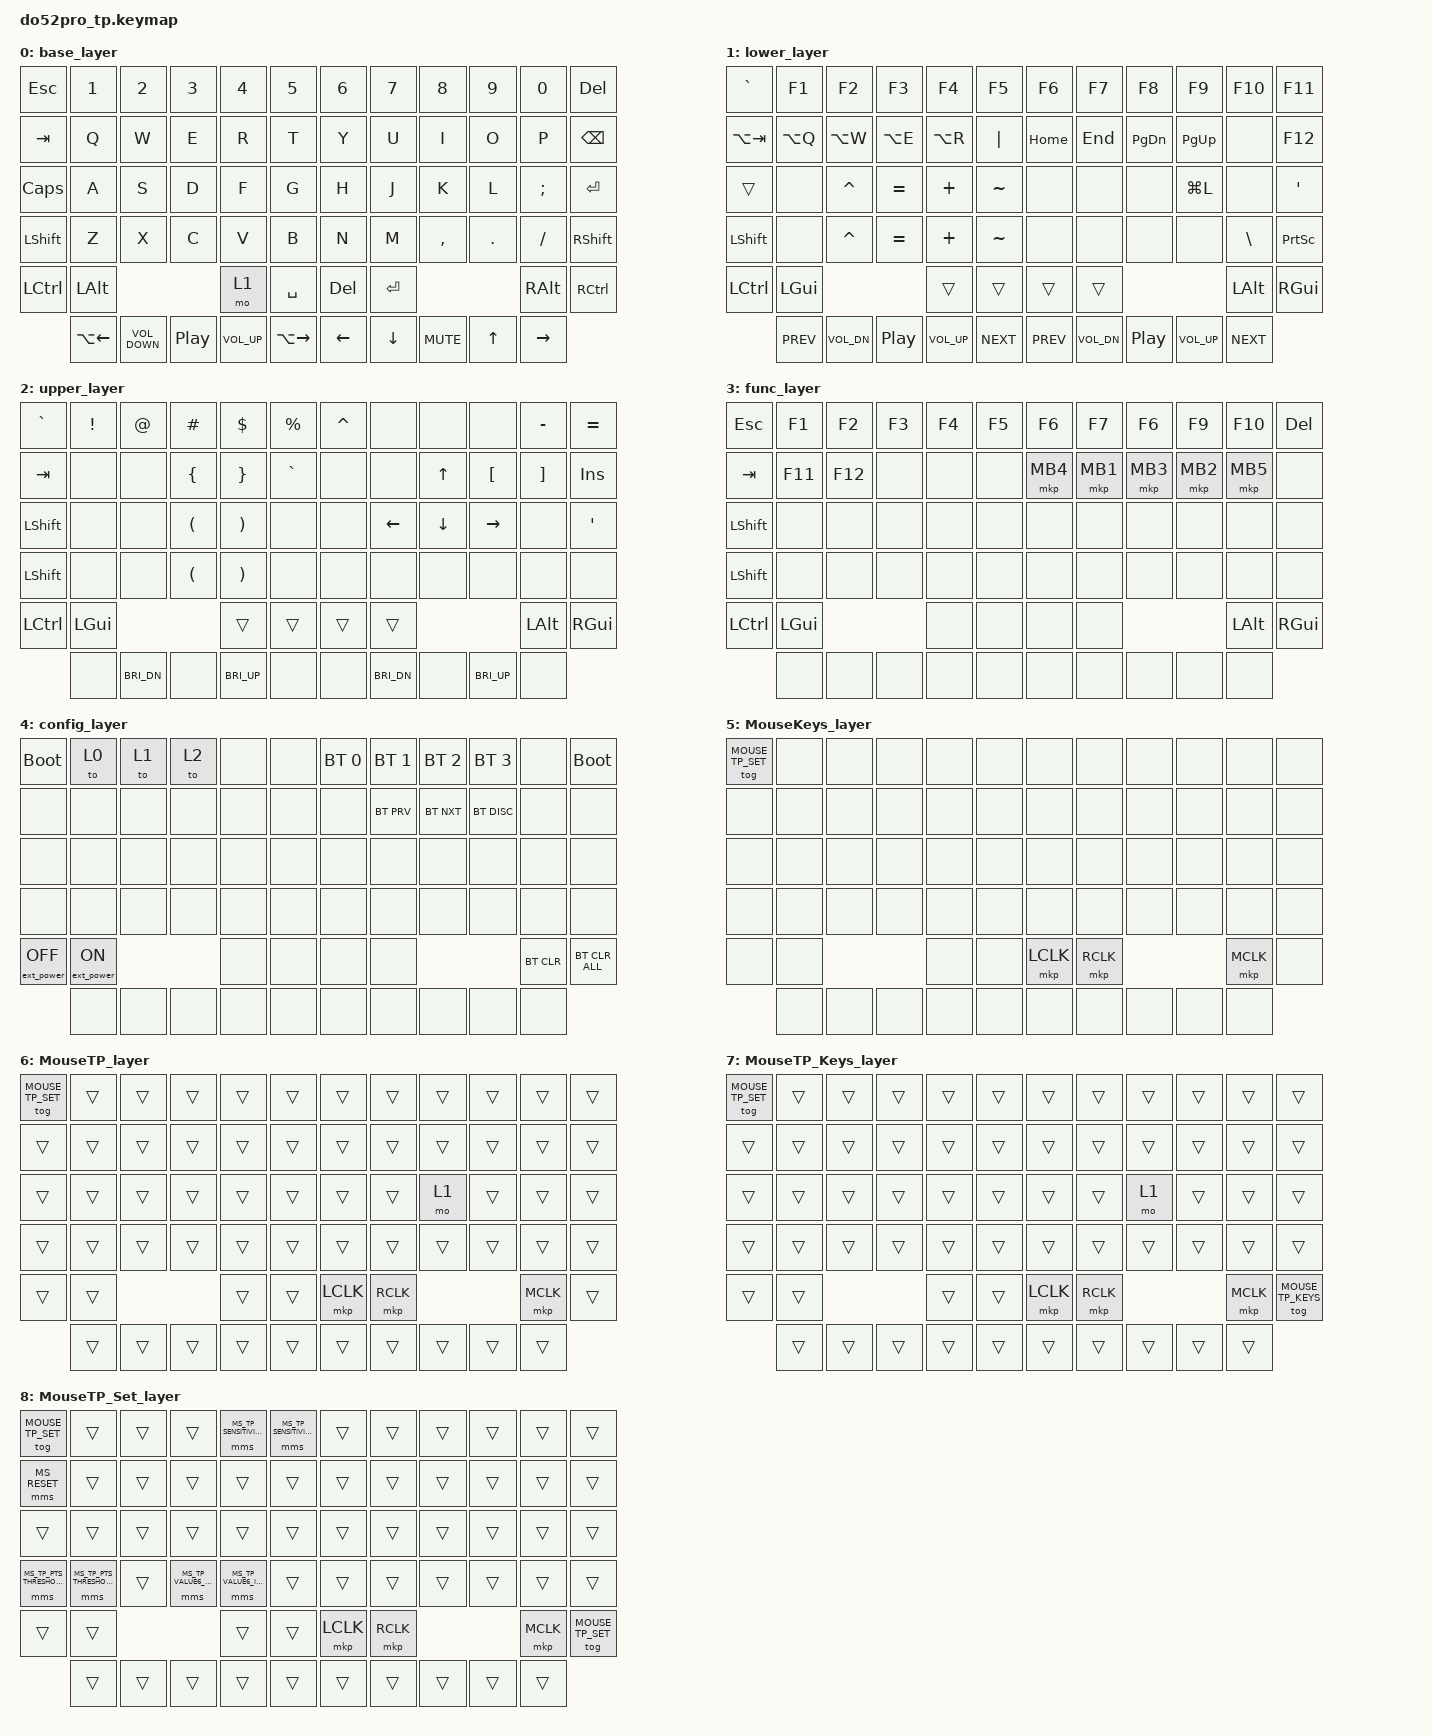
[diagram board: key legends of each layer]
#include <zephyr/dt-bindings/input/input-event-codes.h>

#define BASE 0
#define LOWER 1
#define UPPER 2
#define FUNC 3
#define CONF 4
#define MOUSE_KEYS 5
#define MOUSE_TP 6
#define MOUSE_TP_KEYS 7
#define MOUSE_TP_SET 8

#ifdef HAS_UROB

#define HAS_TRI_STATE
#define HAS_NUM_WORD

#endif

#define HAS_MOUSE_KEYS
#define HAS_MOUSE_TP
#define HAS_TRI_STATE

// ZMK includes
// Personal includes

#include "includes/mouse_keys.dtsi"
#include "includes/mouse_tp.dtsi"
#include "includes/mouse_tp_badjeff_input_listener.dtsi"
#include <dt-bindings/zmk/mouse.h>
#include <behaviors.dtsi>
#include <dt-bindings/zmk/bt.h>
#include <dt-bindings/zmk/ext_power.h>
#include <dt-bindings/zmk/keys.h>
#include <dt-bindings/zmk/pointing.h>

/ {
    keymap {
        compatible = "zmk,keymap";

        base_layer {
            bindings = <
&kp ESCAPE    &kp N1              &kp N2             &kp N3            &kp N4           &kp N5         &kp N6      &kp N7     &kp N8      &kp N9   &kp N0         &kp DELETE
&kp TAB       &kp Q               &kp W              &kp E             &kp R            &kp T          &kp Y       &kp U      &kp I       &kp O    &kp P          &kp BSPC
&kp CAPSLOCK  &kp A               &kp S              &kp D             &kp F            &kp G          &kp H       &kp J      &kp K       &kp L    &kp SEMI       &kp ENTER
&kp LSHFT     &kp Z               &kp X              &kp C             &kp V            &kp B          &kp N       &kp M      &kp COMMA   &kp DOT  &kp FSLH       &kp RSHFT
&kp LCTRL     &kp LEFT_ALT                                             &mo 1            &kp SPACE      &kp DELETE  &kp ENTER                       &kp RIGHT_ALT  &kp RCTRL
              &kp LA(LEFT_ARROW)  &kp C_VOLUME_DOWN  &kp C_PLAY_PAUSE  &kp C_VOLUME_UP  &kp LA(RIGHT)  &kp LEFT    &kp DOWN   &kp C_MUTE  &kp UP   &kp RIGHT
            >;
        };

        lower_layer {
            bindings = <
&kp GRAVE    &kp F1      &kp F2        &kp F3     &kp F4        &kp F5      &kp F6      &kp F7        &kp F8         &kp F9        &kp F10        &kp F11
&kp LA(TAB)  &kp LA(Q)   &kp LA(W)     &kp LA(E)  &kp LA(R)     &kp PIPE    &kp HOME    &kp END       &kp PAGE_DOWN  &kp PAGE_UP   &none          &kp F12
&trans       &none       &kp CARET     &kp EQUAL  &kp PLUS      &kp TILDE   &none       &none         &none          &kp LG(L)     &none          &kp APOS
&kp LSHFT    &none       &kp CARET     &kp EQUAL  &kp PLUS      &kp TILDE   &none       &none         &none          &none         &kp BACKSLASH  &kp PRINTSCREEN
&kp LCTRL    &kp LGUI                             &trans        &trans      &trans      &trans                                     &kp LALT       &kp RGUI
             &kp C_PREV  &kp C_VOL_DN  &kp C_PP   &kp C_VOL_UP  &kp C_NEXT  &kp C_PREV  &kp C_VOL_DN  &kp C_PP       &kp C_VOL_UP  &kp C_NEXT
            >;
        };

        upper_layer {
            bindings = <
&kp GRAVE  &kp EXCL  &kp AT        &kp HASH  &kp DLLR      &kp PRCNT  &kp CARET  &none           &none           &none             &kp MINUS          &kp EQUAL
&kp TAB    &none     &none         &kp LBRC  &kp RBRC      &kp GRAVE  &none      &none           &kp UP_ARROW    &kp LEFT_BRACKET  &kp RIGHT_BRACKET  &kp INS
&kp LSHFT  &none     &none         &kp LPAR  &kp RPAR      &none      &none      &kp LEFT_ARROW  &kp DOWN_ARROW  &kp RIGHT_ARROW   &none              &kp APOS
&kp LSHFT  &none     &none         &kp LPAR  &kp RPAR      &none      &none      &none           &none           &none             &none              &none
&kp LCTRL  &kp LGUI                          &trans        &trans     &trans     &trans                                            &kp LALT           &kp RGUI
           &none     &kp C_BRI_DN  &none     &kp C_BRI_UP  &none      &none      &kp C_BRI_DN    &none           &kp C_BRI_UP      &none
            >;
        };

        func_layer {
            bindings = <
&kp ESC    &kp F1    &kp F2   &kp F3  &kp F4  &kp F5  &kp F6    &kp F7    &kp F6    &kp F9    &kp F10   &kp DEL
&kp TAB    &kp F11   &kp F12  &none   &none   &none   &mkp MB4  &mkp MB1  &mkp MB3  &mkp MB2  &mkp MB5  &none
&kp LSHFT  &none     &none    &none   &none   &none   &none     &none     &none     &none     &none     &none
&kp LSHFT  &none     &none    &none   &none   &none   &none     &none     &none     &none     &none     &none
&kp LCTRL  &kp LGUI                   &none   &none   &none     &none                         &kp LALT  &kp RGUI
           &none     &none    &none   &none   &none   &none     &none     &none     &none     &none
            >;
        };

        config_layer {
            bindings = <
&bootloader        &to 0             &to 1  &to 2  &none  &none  &bt BT_SEL 0  &bt BT_SEL 1  &bt BT_SEL 2  &bt BT_SEL 3  &none       &bootloader
&none              &none             &none  &none  &none  &none  &none         &bt BT_PRV    &bt BT_NXT    &bt BT_DISC   &none       &none
&none              &none             &none  &none  &none  &none  &none         &none         &none         &none         &none       &none
&none              &none             &none  &none  &none  &none  &none         &none         &none         &none         &none       &none
&ext_power EP_OFF  &ext_power EP_ON                &none  &none  &none         &none                                     &bt BT_CLR  &bt BT_CLR_ALL
                   &none             &none  &none  &none  &none  &none         &none         &none         &none         &none
            >;
        };

        MouseKeys_layer {
            bindings = <
&tog MOUSE_TP_SET  &none  &none  &none  &none  &none  &none      &none      &none  &none  &none      &none
&none              &none  &none  &none  &none  &none  &none      &none      &none  &none  &none      &none
&none              &none  &none  &none  &none  &none  &none      &none      &none  &none  &none      &none
&none              &none  &none  &none  &none  &none  &none      &none      &none  &none  &none      &none
&none              &none                &none  &none  &mkp LCLK  &mkp RCLK                &mkp MCLK  &none
                   &none  &none  &none  &none  &none  &none      &none      &none  &none  &none
            >;
        };

        MouseTP_layer {
            bindings = <
&tog MOUSE_TP_SET  &trans  &trans  &trans  &trans  &trans  &trans     &trans     &trans  &trans  &trans     &trans
&trans             &trans  &trans  &trans  &trans  &trans  &trans     &trans     &trans  &trans  &trans     &trans
&trans             &trans  &trans  &trans  &trans  &trans  &trans     &trans     &mo 1   &trans  &trans     &trans
&trans             &trans  &trans  &trans  &trans  &trans  &trans     &trans     &trans  &trans  &trans     &trans
&trans             &trans                  &trans  &trans  &mkp LCLK  &mkp RCLK                  &mkp MCLK  &trans
                   &trans  &trans  &trans  &trans  &trans  &trans     &trans     &trans  &trans  &trans
            >;
        };

        MouseTP_Keys_layer {
            bindings = <
&tog MOUSE_TP_SET  &trans  &trans  &trans  &trans  &trans  &trans     &trans     &trans  &trans  &trans     &trans
&trans             &trans  &trans  &trans  &trans  &trans  &trans     &trans     &trans  &trans  &trans     &trans
&trans             &trans  &trans  &trans  &trans  &trans  &trans     &trans     &mo 1   &trans  &trans     &trans
&trans             &trans  &trans  &trans  &trans  &trans  &trans     &trans     &trans  &trans  &trans     &trans
&trans             &trans                  &trans  &trans  &mkp LCLK  &mkp RCLK                  &mkp MCLK  &tog MOUSE_TP_KEYS
                   &trans  &trans  &trans  &trans  &trans  &trans     &trans     &trans  &trans  &trans
            >;
        };

        MouseTP_Set_layer {
            bindings = <
&tog MOUSE_TP_SET              &trans                         &trans  &trans                  &mms MS_TP_SENSITIVITY_DECR  &mms MS_TP_SENSITIVITY_INCR  &trans     &trans     &trans  &trans  &trans     &trans
&mms MS_RESET                  &trans                         &trans  &trans                  &trans                       &trans                       &trans     &trans     &trans  &trans  &trans     &trans
&trans                         &trans                         &trans  &trans                  &trans                       &trans                       &trans     &trans     &trans  &trans  &trans     &trans
&mms MS_TP_PTS_THRESHOLD_DECR  &mms MS_TP_PTS_THRESHOLD_INCR  &trans  &mms MS_TP_VALUE6_DECR  &mms MS_TP_VALUE6_INCR       &trans                       &trans     &trans     &trans  &trans  &trans     &trans
&trans                         &trans                                                         &trans                       &trans                       &mkp LCLK  &mkp RCLK                  &mkp MCLK  &tog MOUSE_TP_SET
                               &trans                         &trans  &trans                  &trans                       &trans                       &trans     &trans     &trans  &trans  &trans
            >;
        };
    };

    conditional_layers {
        compatible = "zmk,conditional-layers";

        conf {
            if-layers = <1 2>;
            then-layer = <4>;
        };
    };
};
